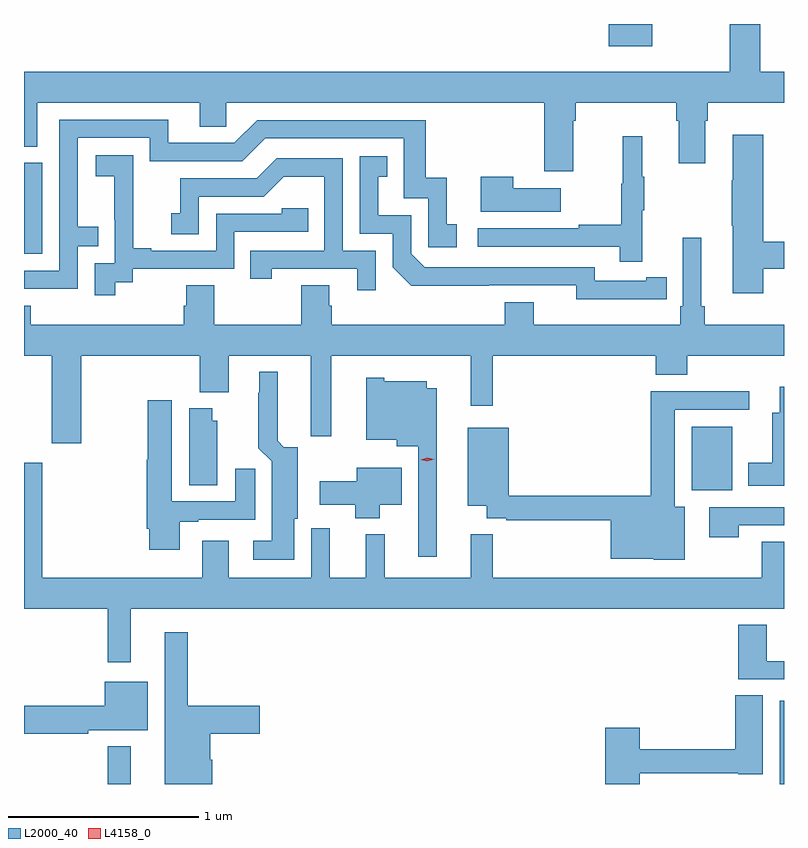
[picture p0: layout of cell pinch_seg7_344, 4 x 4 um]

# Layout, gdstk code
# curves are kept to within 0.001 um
import gdstk
lib = gdstk.Library(unit=1e-6, precision=1e-09)
def R(c, l, rs):  # rectangles x0, y0, x1, y1
    for r in rs: c.add(gdstk.rectangle(r[:2], r[2:], *l))
def P(c, l, *ps):  # polygons
    for p in ps: c.add(gdstk.Polygon(p, *l))
L2000_40 = (2000, 40)
L4158_0 = (4158, 0)

pinch_seg7_344 = lib.new_cell('pinch_seg7_344')
R(pinch_seg7_344, L2000_40, [(388.488,1036.99,388.609,1037.188), (392.024,1036.99,392.047,1037.428), (391.562,1038.536,391.774,1038.871), (388.047,1039.782,388.143,1040.259), (391.124,1040.873,391.354,1040.99)])
P(pinch_seg7_344, L2000_40, [(390.937,1040.48),(390.95,1040.48),(390.95,1040.576),(391.481,1040.576),(391.481,1040.48),(391.493,1040.48),(391.493,1040.256),(391.633,1040.256),(391.633,1040.48),(391.646,1040.48),(391.646,1040.576),(392.047,1040.576),(392.047,1040.74),(391.922,1040.74),(391.922,1040.99),(391.762,1040.99),(391.762,1040.74),(388.047,1040.74),(388.047,1040.344),(388.117,1040.344),(388.117,1040.576),(388.973,1040.576),(388.973,1040.449),(389.112,1040.449),(389.112,1040.576),(390.785,1040.576),(390.785,1040.214),(390.937,1040.214)],
  [(388.329,1039.821),(388.439,1039.821),(388.439,1039.922),(388.329,1039.922),(388.329,1040.391),(388.71,1040.391),(388.71,1040.268),(389.196,1040.268),(389.316,1040.388),(390.045,1040.388),(390.045,1040.073),(390.174,1040.073),(390.174,1039.815),(390.325,1039.815),(390.325,1039.935),(390.272,1039.935),(390.272,1040.182),(390.161,1040.182),(390.161,1040.484),(389.274,1040.484),(389.154,1040.364),(388.807,1040.364),(388.807,1040.487),(388.233,1040.487),(388.233,1039.692),(388.047,1039.692),(388.047,1039.596),(388.329,1039.596)],
  [(391.937,1039.702),(392.047,1039.702),(392.047,1039.844),(391.937,1039.844),(391.937,1040.407),(391.778,1040.407),(391.778,1040.168),(391.771,1040.168),(391.771,1039.927),(391.778,1039.927),(391.778,1039.572),(391.937,1039.572)],
  [(391.301,1040.011),(391.312,1040.011),(391.312,1040.185),(391.301,1040.185),(391.301,1040.398),(391.198,1040.398),(391.198,1040.148),(391.191,1040.148),(391.191,1039.934),(390.967,1039.934),(390.967,1039.914),(390.435,1039.914),(390.435,1039.818),(391.183,1039.818),(391.183,1039.74),(391.301,1039.74)],
  [(388.528,1039.632),(388.62,1039.632),(388.62,1039.701),(389.154,1039.701),(389.154,1039.896),(389.543,1039.896),(389.543,1040.019),(389.403,1040.019),(389.403,1039.992),(389.058,1039.992),(389.058,1039.797),(388.717,1039.797),(388.717,1039.81),(388.622,1039.81),(388.622,1040.093),(388.623,1040.093),(388.623,1040.299),(388.425,1040.299),(388.425,1040.189),(388.523,1040.189),(388.523,1039.961),(388.524,1039.961),(388.524,1039.731),(388.419,1039.731),(388.419,1039.563),(388.528,1039.563)],
  [(391.322,1039.542),(391.43,1039.542),(391.43,1039.658),(391.322,1039.658),(391.322,1039.638),(391.05,1039.638),(391.05,1039.71),(390.156,1039.71),(390.084,1039.782),(390.084,1039.983),(389.911,1039.983),(389.911,1040.187),(389.96,1040.187),(389.96,1040.293),(389.814,1040.293),(389.814,1039.887),(389.988,1039.887),(389.988,1039.71),(390.086,1039.613),(390.954,1039.614),(390.954,1039.541)],
  [(389.898,1039.797),(389.724,1039.797),(389.724,1040.283),(389.378,1040.283),(389.273,1040.178),(388.87,1040.178),(388.87,1039.993),(388.821,1039.993),(388.821,1039.884),(388.968,1039.884),(388.968,1040.082),(389.31,1040.082),(389.414,1040.186),(389.628,1040.186),(389.628,1039.797),(389.239,1039.797),(389.239,1039.65),(389.35,1039.65),(389.35,1039.701),(389.801,1039.701),(389.801,1039.59),(389.898,1039.59)],
  [(390.871,1040.125),(390.623,1040.125),(390.623,1040.185),(390.452,1040.185),(390.452,1040.003),(390.871,1040.003)],
  [(388.347,1039.244),(388.973,1039.244),(388.973,1039.052),(389.125,1039.052),(389.125,1039.244),(389.555,1039.244),(389.555,1038.819),(389.665,1038.819),(389.665,1039.244),(390.397,1039.244),(390.397,1038.981),(390.515,1038.981),(390.515,1039.244),(391.373,1039.244),(391.373,1039.145),(391.538,1039.145),(391.538,1039.244),(392.047,1039.244),(392.047,1039.408),(391.631,1039.408),(391.631,1039.504),(391.612,1039.504),(391.612,1039.864),(391.515,1039.864),(391.515,1039.504),(391.502,1039.504),(391.502,1039.408),(390.73,1039.408),(390.73,1039.525),(390.578,1039.525),(390.578,1039.408),(389.666,1039.408),(389.666,1039.506),(389.653,1039.506),(389.653,1039.616),(389.506,1039.616),(389.506,1039.408),(389.049,1039.408),(389.049,1039.616),(388.901,1039.616),(388.901,1039.506),(388.889,1039.506),(388.889,1039.408),(388.082,1039.408),(388.082,1039.507),(388.047,1039.507),(388.047,1039.244),(388.192,1039.244),(388.192,1038.783),(388.347,1038.783)],
  [(389.47,1038.387),(389.488,1038.387),(389.488,1038.763),(389.415,1038.763),(389.383,1038.796),(389.383,1039.159),(389.285,1039.159),(389.285,1039.049),(389.281,1039.049),(389.281,1038.758),(389.351,1038.688),(389.351,1038.271),(389.253,1038.271),(389.253,1038.17),(389.47,1038.17)],
  [(390.22,1039.072),(390.166,1039.072),(390.166,1039.111),(389.943,1039.111),(389.943,1039.129),(389.849,1039.129),(389.849,1038.803),(390.008,1038.803),(390.008,1038.767),(390.123,1038.767),(390.123,1038.186),(390.22,1038.186)],
  [(392.047,1039.081),(392.024,1039.081),(392.024,1038.943),(391.985,1038.943),(391.985,1038.682),(391.859,1038.682),(391.859,1038.56),(392.047,1038.56)],
  [(391.525,1038.448),(391.471,1038.448),(391.471,1038.96),(391.864,1038.96),(391.864,1039.058),(391.346,1039.058),(391.346,1038.506),(390.598,1038.506),(390.598,1038.865),(390.383,1038.865),(390.383,1038.455),(390.482,1038.455),(390.482,1038.39),(390.586,1038.39),(390.586,1038.378),(391.136,1038.378),(391.136,1038.176),(391.362,1038.176),(391.362,1038.17),(391.525,1038.17)],
  [(388.867,1038.369),(388.963,1038.369),(388.963,1038.381),(389.263,1038.381),(389.263,1038.649),(389.159,1038.649),(389.159,1038.477),(388.825,1038.477),(388.825,1039.009),(388.699,1039.009),(388.699,1038.696),(388.694,1038.696),(388.694,1038.334),(388.706,1038.334),(388.706,1038.222),(388.867,1038.222)],
  [(389.065,1038.903),(389.038,1038.903),(389.038,1038.967),(388.916,1038.967),(388.916,1038.562),(389.065,1038.562)],
  [(388.609,1037.912),(392.047,1037.912),(392.047,1038.266),(391.93,1038.266),(391.93,1038.076),(390.515,1038.076),(390.515,1038.305),(390.398,1038.305),(390.398,1038.076),(389.945,1038.076),(389.945,1038.304),(389.846,1038.304),(389.846,1038.076),(389.657,1038.076),(389.657,1038.337),(389.559,1038.337),(389.559,1038.076),(389.125,1038.076),(389.125,1038.271),(388.985,1038.271),(388.985,1038.076),(388.144,1038.076),(388.144,1038.682),(388.047,1038.682),(388.047,1037.912),(388.488,1037.912),(388.488,1037.631),(388.609,1037.631)],
  [(389.92,1038.461),(390.034,1038.461),(390.034,1038.655),(389.798,1038.655),(389.798,1038.583),(389.604,1038.583),(389.604,1038.461),(389.791,1038.461),(389.791,1038.389),(389.92,1038.389)],
  [(391.809,1038.351),(392.047,1038.351),(392.047,1038.447),(391.653,1038.447),(391.653,1038.288),(391.809,1038.288)],
  [(392.047,1037.637),(391.957,1037.637),(391.957,1037.827),(391.805,1037.827),(391.805,1037.541),(392.047,1037.541)],
  [(389.038,1037.118),(389.026,1037.118),(389.026,1037.255),(389.287,1037.255),(389.287,1037.402),(388.909,1037.402),(388.909,1037.788),(388.787,1037.788),(388.787,1036.99),(389.038,1036.99)],
  [(388.386,1037.273),(388.699,1037.273),(388.699,1037.527),(388.472,1037.527),(388.472,1037.402),(388.047,1037.402),(388.047,1037.255),(388.386,1037.255)],
  [(391.289,1037.046),(391.806,1037.046),(391.806,1037.042),(391.936,1037.042),(391.936,1037.456),(391.79,1037.456),(391.79,1037.174),(391.289,1037.174),(391.289,1037.287),(391.106,1037.287),(391.106,1036.99),(391.289,1036.99)])
P(pinch_seg7_344, L4158_0, [(390.17,1038.688),(390.134,1038.696),(390.134,1038.696),(390.134,1038.696),(390.169,1038.708),(390.205,1038.7),(390.205,1038.7),(390.205,1038.7)])

lib.write_gds('pinch_seg7_344.gds')
